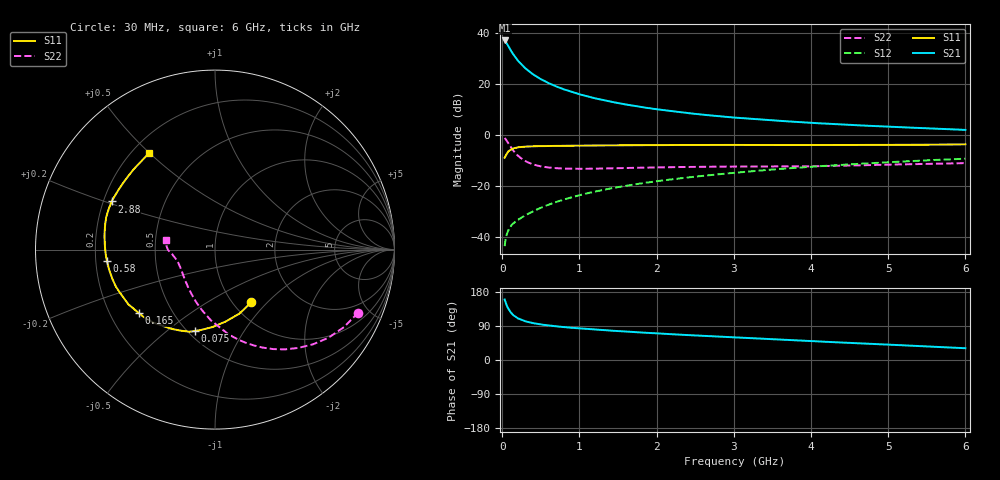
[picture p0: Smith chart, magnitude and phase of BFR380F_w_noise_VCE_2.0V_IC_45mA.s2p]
! Infineon Technologies  Discrete & RF Semiconductors
! BFR380F
! VCE =  2.0 V,  IC =  45 mA
! Common Emitter S-Parameters:  Nov 2015
# GHz  S  MA  R  50
!  f  S11  S21  S12  S22
! GHz  MAG  ANG  MAG  ANG  MAG  ANG  MAG  ANG
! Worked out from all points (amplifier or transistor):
!   206 points, 30 MHz to 6 GHz, reference 50 ohm
!   highest |S21| = 37.0 dB at 30 MHz (marker M1)
!   |S21| within 3 dB of that: start of sweep to 92.69 MHz
!   unconditionally stable (mu >= 1): 848.6 MHz to 4.984 GHz
!   at 200 MHz: K = 0.62, MSG = 31.3 dB, |S12| = -33.4 dB
!   at 1.56 GHz: K = 1.04, MAG = 14.9 dB, |S12| = -20.2 dB
!   at 6 GHz: K = 0.99, MSG = 5.6 dB, |S12| = -9.3 dB
!   lowest NFmin = 1.45 dB at 900 MHz
!   S11 on the Smith chart (normalised r, x): 30 MHz: 1.21, -0.81; 75 MHz: 0.54, -0.63; 165 MHz: 0.32, -0.33; 580 MHz: 0.25, -0.05; 2.88 GHz: 0.23, +0.21; 6 GHz: 0.27, +0.50
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0.03  0.3564 -55.3  70.73 159.7  0.0066 77.3  0.8719 -23.7
0.04  0.3816 -69.0  67.81 153.7  0.0084 72.5  0.8382 -31.0
0.05  0.406 -81.9  64.66 147.8  0.0101 68.9  0.8003 -37.9
0.07  0.455 -100.0  57.48 138.5  0.0126 63.0  0.7173 -49.8
0.075  0.4662 -103.7  55.8 136.8  0.0132 61.9  0.6973 -52.3
0.1  0.5029 -118.5  47.94 128.3  0.0156 57.9  0.6077 -64.0
0.12  0.5233 -127.4  42.69 123.2  0.0171 56.1  0.5479 -71.6
0.15  0.5473 -136.9  36.37 117.1  0.0188 55.3  0.4767 -81.1
0.165  0.5522 -140.2  34.03 115.3  0.0196 55.4  0.45 -84.3
0.2  0.5708 -147.7  28.73 110.1  0.0215 55.5  0.3944 -93.4
0.24  0.5773 -153.1  24.69 106.6  0.0236 56.6  0.3511 -100.9
0.3  0.5894 -159.5  20.04 102.1  0.0266 58.5  0.3057 -111.0
0.4  0.5968 -166.4  15.28 97.2  0.0319 61.7  0.2639 -123.4
0.58  0.6055 -173.8  10.71 91.6  0.0418 65.8  0.2315 -138.4
0.8  0.611 -179.5  7.774 86.7  0.0542 68.6  0.2186 -150.1
1.04  0.6161 175.9  6.016 82.8  0.0681 70.2  0.2165 -157.7
2.02  0.6325 163.3  3.148 70.1  0.1246 70.0  0.2307 -169.9
2.88  0.6351 155.0  2.268 60.8  0.1736 67.5  0.2392 -173.5
3.1  0.6341 152.9  2.131 58.7  0.1862 66.6  0.2397 -173.9
4.1  0.6325 143.1  1.688 48.8  0.2427 62.0  0.2438 -175.2
5.1  0.6375 133.8  1.426 39.6  0.2965 56.9  0.2629 179.7
6  0.6518 124.1  1.252 31.1  0.3409 51.4  0.2799 169.5
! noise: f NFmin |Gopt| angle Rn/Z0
0.45  1.48  0.39  -176  0.08
0.9  1.45  0.41  -175  0.07
1.8  1.65  0.46  -163  0.09
1.9  1.73  0.47  -164  0.09
2.4  1.79  0.48  -154  0.11
3.5  2.39  0.53  -144  0.18
